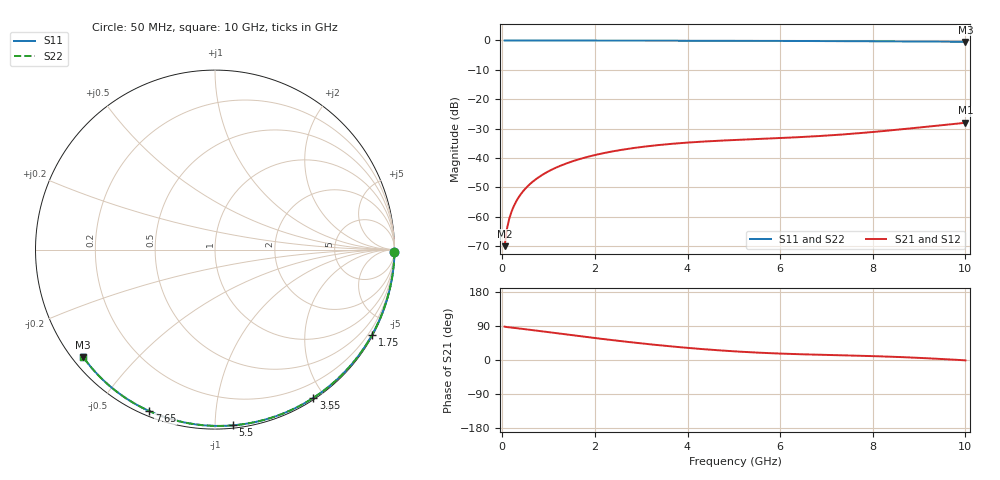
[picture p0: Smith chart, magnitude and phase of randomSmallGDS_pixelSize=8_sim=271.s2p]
! freq	dB(S11)	phase(S11)	dB(S12)	phase(S12)
!  dB(S21)	phase(S21)	dB(S22)	phase(S22)
!S-par simulation data
#  GHz  S  DB  R 50
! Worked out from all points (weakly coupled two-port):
!   200 points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, 50 MHz to 10 GHz, reference 50 ohm
!   highest |S21| = -28.00 dB at 10 GHz (marker M1); lowest = -70.0 dB at 50 MHz (marker M2)
!   lowest |S11| = -0.5 dB at 10 GHz (marker M3), VSWR 37.08, Z = 1.52 - j17.8 ohm
!   |S11| at or under -10 dB: nowhere
!   |S22| runs from -0.5 to 0.0 dB; largest |S21 - S12| = 0
!   S11 on the Smith chart (normalised r, x): 50 MHz: open; 1.75 GHz: 0.03, -3.93; 3.55 GHz: 0.02, -1.86; 5.5 GHz: 0.02, -1.11; 7.65 GHz: 0.02, -0.67; 10 GHz: 0.03, -0.36
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0.05  -0.00 -0.8  -69.97 88.0  -69.97 88.0  -0.00 -0.8
0.1  -0.00 -1.7  -64.08 86.9  -64.08 86.9  -0.00 -1.7
0.15  -0.00 -2.5  -60.65 86.1  -60.65 86.1  -0.00 -2.5
0.2  -0.00 -3.3  -58.21 85.5  -58.21 85.5  -0.00 -3.3
0.25  -0.00 -4.2  -56.31 84.8  -56.31 84.8  -0.00 -4.2
0.35  -0.00 -5.8  -53.43 83.4  -53.43 83.4  -0.00 -5.8
0.5  -0.01 -8.3  -50.37 81.2  -50.37 81.2  -0.01 -8.3
0.7  -0.01 -11.6  -47.50 78.1  -47.50 78.1  -0.01 -11.6
1  -0.02 -16.5  -44.49 73.4  -44.49 73.4  -0.02 -16.5
1.35  -0.03 -22.1  -42.03 67.9  -42.03 67.9  -0.03 -22.1
1.75  -0.04 -28.6  -39.98 61.7  -39.98 61.7  -0.04 -28.6
2.5  -0.05 -40.4  -37.40 50.7  -37.40 50.7  -0.05 -40.4
3.4  -0.07 -54.2  -35.54 38.8  -35.54 38.8  -0.07 -54.2
3.55  -0.08 -56.4  -35.31 37.0  -35.31 37.0  -0.08 -56.4
4.3  -0.10 -67.4  -34.43 29.0  -34.43 29.0  -0.10 -67.4
5.05  -0.12 -78.0  -33.83 22.6  -33.83 22.6  -0.12 -78.1
5.5  -0.14 -84.2  -33.53 19.6  -33.53 19.6  -0.14 -84.3
6.7  -0.19 -100.1  -32.65 14.3  -32.65 14.3  -0.19 -100.2
7.65  -0.25 -112.2  -31.61 11.5  -31.61 11.5  -0.25 -112.2
8.35  -0.31 -120.8  -30.63 8.9  -30.63 8.9  -0.31 -120.9
9.2  -0.38 -131.2  -29.30 4.5  -29.30 4.5  -0.38 -131.2
10  -0.47 -140.8  -28.00 -0.9  -28.00 -0.9  -0.47 -140.8
